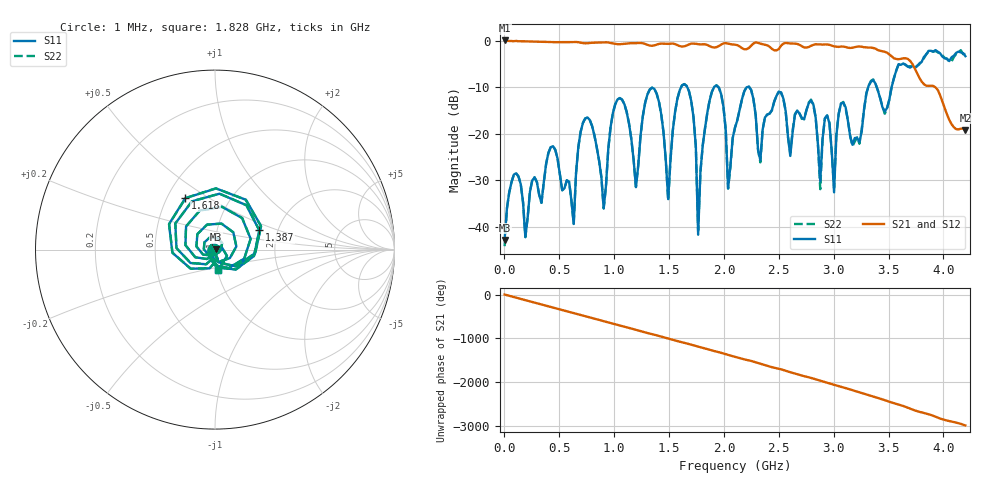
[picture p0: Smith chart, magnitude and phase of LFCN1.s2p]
# MHz S MA R 50
!  freq  S11  S21  S12  S22
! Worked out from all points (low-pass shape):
!   201 points, 1 MHz to 4.2 GHz, reference 50 ohm
!   highest |S21| = 0.03 dB at 1 MHz (marker M1); lowest = -19.2 dB at 4.2 GHz (marker M2)
!   |S21| within 3 dB of the highest: start of sweep to 3.507 GHz
!   lowest |S11| = -42.8 dB at 1 MHz (marker M3), VSWR 1.01, Z = 50.7 + j0.107 ohm
!   |S11| at or under -10 dB: start of sweep to 1.61 GHz; 1.949 GHz to 2.209 GHz (260.1 MHz wide, 12.5 % of centre); 2.23 GHz to 3.314 GHz (1.085 GHz wide, 39.1 % of centre)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
!   |S22| runs from -44.2 to -2.1 dB; largest |S21 - S12| = 0.018
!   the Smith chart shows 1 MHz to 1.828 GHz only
!   S11 on the Smith chart (normalised r, x): 1 MHz: 1.01, +0.00; 1.387 GHz: 1.60, +0.37; 1.618 GHz: 0.62, +0.40; 1.828 GHz: 1.01, -0.23
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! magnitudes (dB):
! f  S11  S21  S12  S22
! 1 MHz  -42.8  0.0  0.0  -44.2
! 441.9 MHz  -22.7  -0.3  -0.3  -22.7
! 630.9 MHz  -39.4  -0.3  -0.3  -39.3
! 714.8 MHz  -17.7  -0.5  -0.5  -17.7
! 903.8 MHz  -36.0  -0.4  -0.4  -36.0
! 1.009 GHz  -13.7  -0.7  -0.7  -13.7
! 1.198 GHz  -31.5  -0.5  -0.5  -31.5
! 1.387 GHz  -11.4  -0.9  -0.9  -11.4
! 1.408 GHz  -13.1  -0.7  -0.7  -13.2
! 1.492 GHz  -34.0  -0.7  -0.7  -34.4
! 1.618 GHz  -9.6  -1.3  -1.3  -9.6
! 1.723 GHz  -16.5  -0.6  -0.6  -16.5
! 1.765 GHz  -41.7  -0.8  -0.8  -40.8
! 1.828 GHz  -18.8  -0.8  -0.8  -18.8
! 1.954 GHz  -10.1  -1.2  -1.1  -10.1
! 2.038 GHz  -31.7  -0.6  -0.6  -31.8
! 2.1 GHz  -18.7  -0.9  -0.9  -18.7
! 2.814 GHz  -13.6  -0.9  -0.9  -13.9
! 3.003 GHz  -32.6  -1.2  -1.2  -31.6
! 3.066 GHz  -13.5  -1.3  -1.3  -13.5
! 3.507 GHz  -12.6  -3.0  -3.0  -12.7
! 4.2 GHz  -3.3  -19.2  -19.2  -2.9
